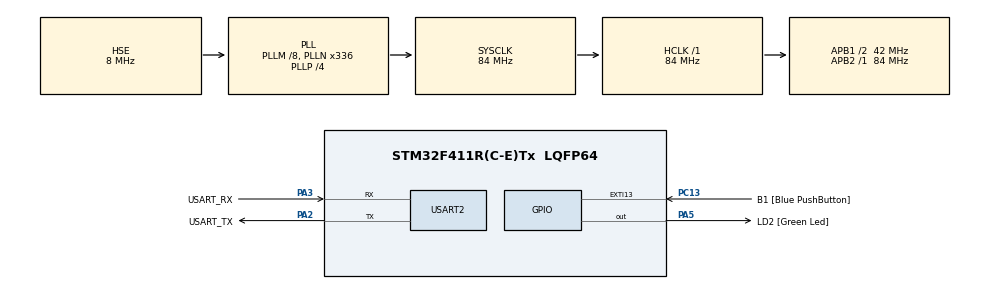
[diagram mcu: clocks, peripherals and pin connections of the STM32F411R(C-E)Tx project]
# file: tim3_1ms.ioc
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Mcu.Family=STM32F4
Mcu.Name=STM32F411R(C-E)Tx
Mcu.Package=LQFP64
NVIC.PriorityGroup=NVIC_PRIORITYGROUP_0
NVIC.TIM3_IRQn=true\:0\:0\:false\:false\:true\:true\:true\:true
PA13.GPIO_Label=TMS
PA13.Mode=Serial_Wire
PA13.Signal=SYS_JTMS-SWDIO
PA14.GPIO_Label=TCK
PA14.Mode=Serial_Wire
PA14.Signal=SYS_JTCK-SWCLK
PA2.GPIO_Label=USART_TX
PA2.Mode=Asynchronous
PA2.Signal=USART2_TX
PA3.GPIO_Label=USART_RX
PA3.Mode=Asynchronous
PA3.Signal=USART2_RX
PA5.GPIO_Label=LD2 [Green Led]
PA5.Signal=GPIO_Output
PB3.GPIO_Label=SWO
PB3.Signal=SYS_JTDO-SWO
PC13-ANTI_TAMP.GPIO_Label=B1 [Blue PushButton]
PC13-ANTI_TAMP.GPIO_ModeDefaultEXTI=GPIO_MODE_IT_FALLING
PC13-ANTI_TAMP.Signal=GPXTI13
PC14-OSC32_IN.Signal=RCC_OSC32_IN
PC15-OSC32_OUT.Signal=RCC_OSC32_OUT
PH0\ -\ OSC_IN.Mode=HSE-External-Oscillator
PH0\ -\ OSC_IN.Signal=RCC_OSC_IN
PH1\ -\ OSC_OUT.Mode=HSE-External-Oscillator
PH1\ -\ OSC_OUT.Signal=RCC_OSC_OUT
ProjectManager.HeapSize=0x200
ProjectManager.StackSize=0x400
ProjectManager.TargetToolchain=STM32CubeIDE
RCC.48MHZClocksFreq_Value=84000000
RCC.AHBFreq_Value=84000000
RCC.APB1CLKDivider=RCC_HCLK_DIV2
RCC.APB1Freq_Value=42000000
RCC.APB1TimFreq_Value=84000000
RCC.APB2Freq_Value=84000000
RCC.APB2TimFreq_Value=84000000
RCC.CortexFreq_Value=84000000
RCC.FLatency-AdvancedSettings=FLASH_LATENCY_2
RCC.HCLKFreq_Value=84000000
RCC.HSE_VALUE=8000000
RCC.HSI_VALUE=16000000
RCC.PLLM=8
RCC.PLLN=336
RCC.PLLP=RCC_PLLP_DIV4
RCC.PLLSourceVirtual=RCC_PLLSOURCE_HSE
RCC.SYSCLKFreq_VALUE=84000000
RCC.SYSCLKSource=RCC_SYSCLKSOURCE_PLLCLK
RCC.VCOOutputFreq_Value=336000000
TIM3.AutoReloadPreload=TIM_AUTORELOAD_PRELOAD_ENABLE
TIM3.Period=1000-1
TIM3.Prescaler=84-1
USART2.VirtualMode=VM_ASYNC
VP_TIM3_VS_ClockSourceINT.Mode=Internal
board=NUCLEO-F411RE

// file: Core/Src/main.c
/* USER CODE BEGIN Header */
/**
  ******************************************************************************
  * @file           : main.c
  * @brief          : Main program body
  ******************************************************************************
  * @attention
  *
  * Copyright (c) 2024 STMicroelectronics.
  * All rights reserved.
  *
  * This software is licensed under terms that can be found in the LICENSE file
  * in the root directory of this software component.
  * If no LICENSE file comes with this software, it is provided AS-IS.
  *
  ******************************************************************************
  */
/* USER CODE END Header */
#include "main.h"

/* USER CODE BEGIN Includes */
#include <stdio.h>
/* USER CODE END Includes */

/* USER CODE BEGIN PD */
#ifdef __GNUC__
/* With GCC, small printf (option LD Linker->Libraries->Small printf
   set to 'Yes') calls __io_putchar() */
#define PUTCHAR_PROTOTYPE int __io_putchar(int ch)
#else
#define PUTCHAR_PROTOTYPE int fputc(int ch, FILE *f)
#endif /* __GNUC__ */
/* USER CODE END PD */

TIM_HandleTypeDef htim3;

UART_HandleTypeDef huart2;

/* USER CODE BEGIN PV */
volatile int tim3Flag1Sec;
volatile unsigned int tim3Sec;
/* USER CODE END PV */

void SystemClock_Config(void);
static void MX_GPIO_Init(void);
static void MX_USART2_UART_Init(void);
static void MX_TIM3_Init(void);

int main(void)
{

  /* MCU Configuration--------------------------------------------------------*/

  /* Reset of all peripherals, Initializes the Flash interface and the Systick. */
  HAL_Init();

  /* Configure the system clock */
  SystemClock_Config();

  /* Initialize all configured peripherals */
  MX_GPIO_Init();
  MX_USART2_UART_Init();
  MX_TIM3_Init();
  /* USER CODE BEGIN 2 */
  if(HAL_TIM_Base_Start_IT(&htim3) != HAL_OK)
  {
	  Error_Handler();
  }
  printf("start main() - tim3_1ms\r\n");
  /* USER CODE END 2 */

  /* Infinite loop */
  /* USER CODE BEGIN WHILE */
  while (1)
  {
	  if(tim3Flag1Sec)
	  {
		  tim3Flag1Sec = 0;
		  HAL_GPIO_TogglePin(LD2_GPIO_Port,LD2_Pin);
		  printf("tim3Sec : %d\r\n",tim3Sec);
	  }
    /* USER CODE END WHILE */

  }
}

void SystemClock_Config(void)
{
  RCC_OscInitTypeDef RCC_OscInitStruct = {0};
  RCC_ClkInitTypeDef RCC_ClkInitStruct = {0};

  /** Configure the main internal regulator output voltage
  */
  __HAL_RCC_PWR_CLK_ENABLE();
  __HAL_PWR_VOLTAGESCALING_CONFIG(PWR_REGULATOR_VOLTAGE_SCALE1);

  /** Initializes the RCC Oscillators according to the specified parameters
  * in the RCC_OscInitTypeDef structure.
  */
  RCC_OscInitStruct.OscillatorType = RCC_OSCILLATORTYPE_HSE;
  RCC_OscInitStruct.HSEState = RCC_HSE_ON;
  RCC_OscInitStruct.PLL.PLLState = RCC_PLL_ON;
  RCC_OscInitStruct.PLL.PLLSource = RCC_PLLSOURCE_HSE;
  RCC_OscInitStruct.PLL.PLLM = 8;
  RCC_OscInitStruct.PLL.PLLN = 336;
  RCC_OscInitStruct.PLL.PLLP = RCC_PLLP_DIV4;
  RCC_OscInitStruct.PLL.PLLQ = 4;
  if (HAL_RCC_OscConfig(&RCC_OscInitStruct) != HAL_OK)
  {
    Error_Handler();
  }

  /** Initializes the CPU, AHB and APB buses clocks
  */
  RCC_ClkInitStruct.ClockType = RCC_CLOCKTYPE_HCLK|RCC_CLOCKTYPE_SYSCLK
                              |RCC_CLOCKTYPE_PCLK1|RCC_CLOCKTYPE_PCLK2;
  RCC_ClkInitStruct.SYSCLKSource = RCC_SYSCLKSOURCE_PLLCLK;
  RCC_ClkInitStruct.AHBCLKDivider = RCC_SYSCLK_DIV1;
  RCC_ClkInitStruct.APB1CLKDivider = RCC_HCLK_DIV2;
  RCC_ClkInitStruct.APB2CLKDivider = RCC_HCLK_DIV1;

  if (HAL_RCC_ClockConfig(&RCC_ClkInitStruct, FLASH_LATENCY_2) != HAL_OK)
  {
    Error_Handler();
  }
}

static void MX_TIM3_Init(void)
{

  TIM_ClockConfigTypeDef sClockSourceConfig = {0};
  TIM_MasterConfigTypeDef sMasterConfig = {0};

  htim3.Instance = TIM3;
  htim3.Init.Prescaler = 84-1;
  htim3.Init.CounterMode = TIM_COUNTERMODE_UP;
  htim3.Init.Period = 1000-1;
  htim3.Init.ClockDivision = TIM_CLOCKDIVISION_DIV1;
  htim3.Init.AutoReloadPreload = TIM_AUTORELOAD_PRELOAD_ENABLE;
  if (HAL_TIM_Base_Init(&htim3) != HAL_OK)
  {
    Error_Handler();
  }
  sClockSourceConfig.ClockSource = TIM_CLOCKSOURCE_INTERNAL;
  if (HAL_TIM_ConfigClockSource(&htim3, &sClockSourceConfig) != HAL_OK)
  {
    Error_Handler();
  }
  sMasterConfig.MasterOutputTrigger = TIM_TRGO_RESET;
  sMasterConfig.MasterSlaveMode = TIM_MASTERSLAVEMODE_DISABLE;
  if (HAL_TIMEx_MasterConfigSynchronization(&htim3, &sMasterConfig) != HAL_OK)
  {
    Error_Handler();
  }

}

static void MX_USART2_UART_Init(void)
{

  huart2.Instance = USART2;
  huart2.Init.BaudRate = 115200;
  huart2.Init.WordLength = UART_WORDLENGTH_8B;
  huart2.Init.StopBits = UART_STOPBITS_1;
  huart2.Init.Parity = UART_PARITY_NONE;
  huart2.Init.Mode = UART_MODE_TX_RX;
  huart2.Init.HwFlowCtl = UART_HWCONTROL_NONE;
  huart2.Init.OverSampling = UART_OVERSAMPLING_16;
  if (HAL_UART_Init(&huart2) != HAL_OK)
  {
    Error_Handler();
  }

}

static void MX_GPIO_Init(void)
{
  GPIO_InitTypeDef GPIO_InitStruct = {0};

  /* GPIO Ports Clock Enable */
  __HAL_RCC_GPIOC_CLK_ENABLE();
  __HAL_RCC_GPIOH_CLK_ENABLE();
  __HAL_RCC_GPIOA_CLK_ENABLE();
  __HAL_RCC_GPIOB_CLK_ENABLE();

  /*Configure GPIO pin Output Level */
  HAL_GPIO_WritePin(LD2_GPIO_Port, LD2_Pin, GPIO_PIN_RESET);

  /*Configure GPIO pin : B1_Pin */
  GPIO_InitStruct.Pin = B1_Pin;
  GPIO_InitStruct.Mode = GPIO_MODE_IT_FALLING;
  GPIO_InitStruct.Pull = GPIO_NOPULL;
  HAL_GPIO_Init(B1_GPIO_Port, &GPIO_InitStruct);

  /*Configure GPIO pin : LD2_Pin */
  GPIO_InitStruct.Pin = LD2_Pin;
  GPIO_InitStruct.Mode = GPIO_MODE_OUTPUT_PP;
  GPIO_InitStruct.Pull = GPIO_NOPULL;
  GPIO_InitStruct.Speed = GPIO_SPEED_FREQ_LOW;
  HAL_GPIO_Init(LD2_GPIO_Port, &GPIO_InitStruct);

}

/* USER CODE BEGIN 4 */
/**
  * @brief  Retargets the C library printf function to the USART.
  * @param  None
  * @retval None
  */
PUTCHAR_PROTOTYPE
{
  /* Place your implementation of fputc here */
  /* e.g. write a character to the USART6 and Loop until the end of transmission */
  HAL_UART_Transmit(&huart2, (uint8_t *)&ch, 1, 0xFFFF);

  return ch;
}
void HAL_TIM_PeriodElapsedCallback(TIM_HandleTypeDef *htim)		//1ms 마다 호출
{
	static int tim3Cnt = 0;
	tim3Cnt++;
	if(tim3Cnt == 1000) //1ms * 1000 = 1Sec
	{
		tim3Flag1Sec = 1;
		tim3Sec++;
		tim3Cnt = 0;
	}
}
/* USER CODE END 4 */

void Error_Handler(void)
{
  __disable_irq();
  while (1)
  {
  }
}
